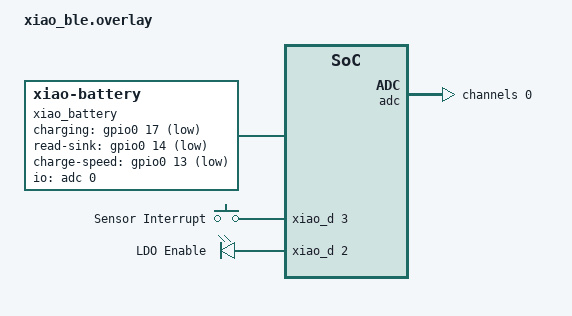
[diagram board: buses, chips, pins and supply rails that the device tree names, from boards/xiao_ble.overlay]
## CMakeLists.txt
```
#
# Copyright (c) 2021 Nordic Semiconductor ASA
#
# SPDX-License-Identifier: LicenseRef-Nordic-5-Clause
#

cmake_minimum_required(VERSION 3.20.0)

find_package(Zephyr HINTS $ENV{ZEPHYR_BASE})

project(sentinel)

# Enable GNU STD support.
include(${ZEPHYR_CONNECTEDHOMEIP_MODULE_DIR}/config/nrfconnect/app/enable-gnu-std.cmake)

# NORDIC SDK APP START

# Include all source files that are located in the Matter common directory.
include(${ZEPHYR_NRF_MODULE_DIR}/samples/matter/common/cmake/source_common.cmake)

# Remove Matter "board" sources added by source_common.cmake, these only build for machines with
# specific dts nodes that seem very hardcoded to the DKs.
get_target_property(_app_sources app SOURCES)
list(REMOVE_ITEM _app_sources
  ${MATTER_COMMONS_SRC_DIR}/board/board.cpp
  ${MATTER_COMMONS_SRC_DIR}/board/led_widget.cpp
)
set_property(TARGET app PROPERTY SOURCES "${_app_sources}")

# Include Data Model utils
include(${ZEPHYR_NRF_MODULE_DIR}/samples/matter/common/cmake/data_model.cmake)

include(${ZEPHYR_NRF_MODULE_DIR}/samples/matter/common/cmake/zap_helpers.cmake)
ncs_get_zap_parent_dir(ZAP_PARENT_DIR)

target_include_directories(app PRIVATE
  src
  drivers
  ${ZAP_PARENT_DIR}
)

target_sources(app PRIVATE
  src/app_task.cpp
  src/main.cpp
  src/battery_monitor.cpp
  drivers/ld2410s.c
)

ncs_configure_data_model()
# NORDIC SDK APP END
```

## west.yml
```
manifest:
  self:
    path: application
  remotes:
    - name: nrf
      url-base: https://github.com/nrfconnect
  projects:
    - name: sdk-nrf
      remote: nrf
      path: nrf
      revision: v3.2.1
      import:
        path-prefix: external
      clone-depth: 1
```

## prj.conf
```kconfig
#
# Copyright (c) 2021 Nordic Semiconductor ASA
#
# SPDX-License-Identifier: LicenseRef-Nordic-5-Clause
#

# Enable CHIP
CONFIG_CHIP=y
CONFIG_CHIP_DEVICE_VENDOR_NAME="LocalizedTech"
CONFIG_CHIP_DEVICE_PRODUCT_NAME="Sentinel"

CONFIG_CHIP_PROJECT_CONFIG="src/chip_project_config.h"

CONFIG_STD_CPP17=y

# Configure ZAP file name
CONFIG_NCS_SAMPLE_MATTER_ZAP_FILE_PATH="${APPLICATION_CONFIG_DIR}/src/default_zap/presence.zap"

# Enable Matter pairing automatically on application start.
CONFIG_CHIP_ENABLE_PAIRING_AUTOSTART=y

# Enable Matter extended announcement and increase duration to 1 hour.
CONFIG_CHIP_BLE_EXT_ADVERTISING=y
CONFIG_CHIP_BLE_ADVERTISING_DURATION=60

# Set Matter polling intervals
CONFIG_CHIP_ENABLE_ICD_SUPPORT=y
CONFIG_CHIP_ICD_SLOW_POLL_INTERVAL=1000

# Enable SED
CONFIG_OPENTHREAD_MTD=y
CONFIG_OPENTHREAD_NORDIC_LIBRARY_MTD=y

# Bluetooth Low Energy configuration
CONFIG_BT_DEVICE_NAME="Sentinel"

# Other settings
CONFIG_THREAD_NAME=y
CONFIG_MPU_STACK_GUARD=y
CONFIG_RESET_ON_FATAL_ERROR=n

# Disable NFC onboarding
CONFIG_CHIP_NFC_ONBOARDING_PAYLOAD=n

# Reduce application size
CONFIG_USE_SEGGER_RTT=n

CONFIG_ADC=y

CONFIG_COMPILER_WARNINGS_AS_ERRORS=y

# Enable power management
CONFIG_PM_DEVICE=y

# Use Thread SSED (Synchronized Sleepy End Device) for CSL-based low power
CONFIG_CHIP_THREAD_SSED=y

# Disable USB device stack - the nRF52840 USB peripheral draws ~1mA+ even with
# no cable connected. This also disables the CDC ACM serial console.
CONFIG_USB_DEVICE_STACK_NEXT=n
CONFIG_BOARD_SERIAL_BACKEND_CDC_ACM=n

# Disable serial console and shell - these keep the CPU and UART clocked,
# wasting power. Remove these lines if you need debug output.
# Note: CONFIG_SERIAL must stay enabled for the sensor UART (uart0).
CONFIG_CONSOLE=n
CONFIG_UART_CONSOLE=n
CONFIG_SHELL=n
CONFIG_OPENTHREAD_SHELL=n
CONFIG_CHIP_LIB_SHELL=n
CONFIG_NCS_SAMPLE_MATTER_TEST_SHELL=n
CONFIG_LOG=n
CONFIG_LOG_MODE_MINIMAL=n
CONFIG_PRINTK=n
CONFIG_BOOT_BANNER=n

# Power down unused RAM blocks to reduce idle current
CONFIG_RAM_POWER_DOWN_LIBRARY=y

# Disable Factory Data feature
CONFIG_CHIP_FACTORY_DATA=n
CONFIG_CHIP_FACTORY_DATA_BUILD=n

# Removes mcuboot which is currently not supported on this board
CONFIG_DFU_TARGET=n
CONFIG_BOOTLOADER_MCUBOOT=n
CONFIG_CHIP_OTA_REQUESTOR=n
CONFIG_CHIP_BOOTLOADER_NONE=y
```

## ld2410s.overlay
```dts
/ {
	sensor_interrupt {
		compatible = "gpio-keys";
		#address-cells = <1>;
		#size-cells = <0>;
		status = "okay";

		interrupt_pin: interrupt_pin {
			label = "Sensor Interrupt";
			gpios = <&xiao_d 3 GPIO_ACTIVE_HIGH>;
		};
	};
};
```

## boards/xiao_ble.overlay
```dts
/*
 * SPDX-License-Identifier: Apache-2.0
 */

/ {
	aliases {
		uart-mmwave = &uart0;
		ldo-enable = &ldo_enable;
	};

	xiao_battery: xiao_battery {
		compatible = "xiao-battery";
		charging-gpios = <&gpio0 17 GPIO_ACTIVE_LOW>;
		read-sink-gpios = <&gpio0 14 GPIO_ACTIVE_LOW>;
		charge-speed-gpios = <&gpio0 13 GPIO_ACTIVE_LOW>;
		io-channels = <&adc 0>;
	};

	sensor_interrupt {
		compatible = "gpio-keys";
		#address-cells = <1>;
		#size-cells = <0>;
		status = "okay";

		interrupt_pin: interrupt_pin {
			label = "Sensor Interrupt";
			gpios = <&xiao_d 3 GPIO_ACTIVE_HIGH>;
		};
	};

	gpio_outputs {
		compatible = "gpio-leds";
		ldo_enable: ldo_enable {
			label = "LDO Enable";
			gpios = <&xiao_d 2 GPIO_ACTIVE_HIGH>;
		};
	};
};

&adc {
	#address-cells = <1>;
	#size-cells = <0>;
	status = "okay";

	channel@0 {
		reg = <0>;
		zephyr,gain = "ADC_GAIN_1_6";
		zephyr,reference = "ADC_REF_INTERNAL";
		zephyr,acquisition-time = <ADC_ACQ_TIME_DEFAULT>;
		zephyr,input-positive = <NRF_SAADC_AIN7>;
		zephyr,resolution = <12>;
	};
};

/* This uses gpio0 17 by default, which is the charging GPIO */
&pwm0 {
	status = "disabled";
};

&i2c1 {
	status = "disabled";
};

&spi2 {
	status = "disabled";
};
```

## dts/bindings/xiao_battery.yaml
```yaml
#
# SPDX-License-Identifier: Apache-2.0
#

description: Binding for Xiao board battery management

compatible: "xiao-battery"

properties:
  charging-gpios:
    type: phandle-array
    required: true
    description: GPIO used to check if the battery is charging

  read-sink-gpios:
    type: phandle-array
    required: true
    description: GPIO used to sink the battery voltage to not fry the ADC read pin, should always be low

  charge-speed-gpios:
    type: phandle-array
    required: true
    description: GPIO used to select the charging speed (high = 100mA, low = 50mA)

  io-channels:
    type: phandle-array
    required: true
    description: IO channel used for ADC reading of the battery voltage.
```

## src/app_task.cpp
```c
/*
 * SPDX-License-Identifier: Apache-2.0
 */

#include "app_task.h"
#include "battery_monitor.h"
#include "ld2410s.h"

#include "app/matter_init.h"
#include "app/task_executor.h"
#include "lib/core/CHIPError.h"
#include "lib/support/CodeUtils.h"

#include <setup_payload/OnboardingCodesUtil.h>
#include <app-common/zap-generated/attributes/Accessors.h>

#include <zephyr/logging/log.h>
#include <zephyr/drivers/gpio.h>

LOG_MODULE_DECLARE(app, CONFIG_CHIP_APP_LOG_LEVEL);

K_THREAD_STACK_DEFINE(sensorPollingStack, 1024);

/* GPIO device for LDO enable */
static const struct gpio_dt_spec ldo_enable = GPIO_DT_SPEC_GET(DT_ALIAS(ldo_enable), gpios);

using namespace ::chip;
using namespace ::chip::app;
using namespace ::chip::DeviceLayer;
using namespace ::Clusters;

/* Matter endpoints */
constexpr EndpointId endpointOccupancy = 1;
constexpr EndpointId endpointDistance = 2;
constexpr EndpointId endpointAutoThreshold = 3;
constexpr EndpointId endpointTriggerOffset = 4;
constexpr EndpointId endpointHoldingOffset = 5;

bool autoThresholdRunning = false;

static void AutoThresholdCompleteCallback()
{
	Nrf::PostTask([]() {
		autoThresholdRunning = false;
		OnOff::Attributes::OnOff::Set(endpointAutoThreshold, false);
		LOG_INF("Auto threshold complete, set OnOff to OFF");
	});
}

chip::Protocols::InteractionModel::Status
emberAfExternalAttributeReadCallback(chip::EndpointId endpoint, chip::ClusterId clusterId,
				     const EmberAfAttributeMetadata *attributeMetadata,
				     uint8_t *buffer, uint16_t maxReadLength)
{
	switch (endpoint) {
	case endpointOccupancy:
		if (clusterId == OccupancySensing::Id &&
		    attributeMetadata->attributeId == OccupancySensing::Attributes::HoldTime::Id) {
			if (AppTask::Instance().hold_time == 0) {
				return chip::Protocols::InteractionModel::Status::Busy;
			}

			buffer[0] = AppTask::Instance().hold_time;
			return chip::Protocols::InteractionModel::Status::Success;
		}
		break;
	}

	return chip::Protocols::InteractionModel::Status::UnsupportedAttribute;
}

chip::Protocols::InteractionModel::Status
emberAfExternalAttributeWriteCallback(chip::EndpointId endpoint, chip::ClusterId clusterId,
				      const EmberAfAttributeMetadata *attributeMetadata,
				      uint8_t *buffer)
{
	/* Ignore all Matter attribute changes if auto threshold is running */
	if (autoThresholdRunning) {
		LOG_INF("Auto threshold is running, ignore attribute write");
		return chip::Protocols::InteractionModel::Status::Busy;
	}

	switch (endpoint) {
	case endpointOccupancy:
		if (clusterId == OccupancySensing::Id &&
		    attributeMetadata->attributeId == OccupancySensing::Attributes::HoldTime::Id) {
			uint8_t delay = buffer[0];

			AppTask::Instance().hold_time = delay;
			Nrf::PostTask([delay]() { ld2410s_set_disappearance_delay(delay); });

			LOG_INF("HoldTime written: %u", delay);
			return chip::Protocols::InteractionModel::Status::Success;
		}
		break;
	}

	return chip::Protocols::InteractionModel::Status::UnsupportedAttribute;
}

chip::Protocols::InteractionModel::Status
MatterPreAttributeChangeCallback(const chip::app::ConcreteAttributePath &attributePath,
				 uint8_t type, uint16_t size, uint8_t *value)
{
	/* Ignore all Matter attribute changes if auto threshold is running */
	if (autoThresholdRunning) {
		LOG_INF("Auto threshold is running, ignore attribute change");
		return chip::Protocols::InteractionModel::Status::Busy;
	}

	switch (attributePath.mEndpointId) {
	case endpointTriggerOffset:
	case endpointHoldingOffset:
		if (attributePath.mClusterId == LevelControl::Id &&
		    attributePath.mAttributeId == LevelControl::Attributes::OnLevel::Id) {
			chip::app::DataModel::Nullable<uint8_t> oldValue;
			int32_t delta = 0;
			int32_t triggerDelta = 0;
			int32_t holdingDelta = 0;

			LevelControl::Attributes::OnLevel::Get(attributePath.mEndpointId, oldValue);

			if (oldValue.IsNull()) {
				delta = *value;
			} else {
				delta = *value - oldValue.Value();
			}

			if (attributePath.mEndpointId == endpointTriggerOffset) {
				triggerDelta = delta;
			} else if (attributePath.mEndpointId == endpointHoldingOffset) {
				holdingDelta = delta;
			}

			/* UART operation could take time, so we post it to the task queue */
			Nrf::PostTask([triggerDelta, holdingDelta]() {
				uint32_t thresholds[16];

				bool success = ld2410s_get_thresholds(thresholds);
				if (!success) {
					LOG_ERR("Failed to get thresholds");
					return;
				}

				for (int i = 0; i < 8; i++) {
					int32_t new_threshold = thresholds[i] + triggerDelta;

					/* TODO: Need to check what the highest threshold value
					 * actually is. Doing it like this also makes us lose the
					 * original value if it gets clamped and then we decrease it
					 * the same amount */
					new_threshold =
						std::clamp(new_threshold, int32_t{0}, int32_t{100});

					LOG_INF("Trigger %d: %u -> %u", i, thresholds[i],
						new_threshold);
					thresholds[i] = new_threshold;
				}

				for (int i = 8; i < 16; i++) {
					int32_t new_threshold = thresholds[i] + holdingDelta;

					new_threshold =
						std::clamp(new_threshold, int32_t{0}, int32_t{100});

					LOG_INF("Holding %d: %u -> %u", i, thresholds[i],
						new_threshold);
					thresholds[i] = new_threshold;
				}

				success = ld2410s_set_thresholds(thresholds);
				if (!success) {
					LOG_ERR("Failed to set thresholds");
				}
			});
		}
		break;
	}

	return chip::Protocols::InteractionModel::Status::Success;
}

void MatterPostAttributeChangeCallback(const chip::app::ConcreteAttributePath &attributePath,
				       uint8_t type, uint16_t size, uint8_t *value)
{
	switch (attributePath.mEndpointId) {
	case endpointDistance:
		if (attributePath.mClusterId == LevelControl::Id &&
		    attributePath.mAttributeId == LevelControl::Attributes::OnLevel::Id) {
			uint8_t level = *value;

			Nrf::PostTask([level]() { ld2410s_set_detection_distance(level); });
			LOG_INF("Distance changed: %u", level);
		}
		break;
	case endpointAutoThreshold:
		if (attributePath.mClusterId == OnOff::Id &&
		    attributePath.mAttributeId == OnOff::Attributes::OnOff::Id) {
			bool on = *value;

			LOG_INF("AutoThreshold changed: %s", on ? "On" : "Off");

			if (!on) {
				return;
			}

			/* Reset offsets to 100, can be done immediately since we're in Matter
			 * context */
			LevelControl::Attributes::OnLevel::Set(endpointTriggerOffset, 100);
			LevelControl::Attributes::OnLevel::Set(endpointHoldingOffset, 100);

			/* Schedule automatic threshold, UART can block so put it in a task */
			Nrf::PostTask([]() {
				autoThresholdRunning = true;
				ld2410s_set_automatic_threshold(AutoThresholdCompleteCallback);
			});
		}
	}
}

void AppTask::UpdateOccupancy(bool occupied)
{
	Nrf::PostTask([occupied]() {
		BitMask<OccupancySensing::OccupancyBitmap> occupancyBitmap;
		Protocols::InteractionModel::Status status;

		occupancyBitmap.Set(OccupancySensing::OccupancyBitmap::kOccupied, occupied);
		status = OccupancySensing::Attributes::Occupancy::Set(endpointOccupancy,
								      occupancyBitmap);

		if (status != Protocols::InteractionModel::Status::Success) {
			LOG_ERR("Setting occupancy cluster failed: %x", to_underlying(status));
			return;
		}

		LOG_INF("Occupancy state updated to: %s", occupied ? "Occupied" : "Unoccupied");
	});
}

void AppTask::InitMatterAttributes()
{
	BitMask<OccupancySensing::OccupancySensorTypeBitmap> occupancySensorTypeBitmap;

	occupancySensorTypeBitmap.Set(OccupancySensing::OccupancySensorTypeBitmap::kPir);
	OccupancySensing::Attributes::OccupancySensorTypeBitmap::Set(endpointOccupancy,
								     occupancySensorTypeBitmap);
	OccupancySensing::Attributes::OccupancySensorType::Set(
		endpointOccupancy, OccupancySensing::OccupancySensorTypeEnum::kPir);

	DeviceLayer::AttributeList<UserLabel::Structs::LabelStruct::Type,
				   DeviceLayer::kMaxUserLabelListLength>
		detectionDistanceList;
	detectionDistanceList.add(UserLabel::Structs::LabelStruct::Type{
		CharSpan::fromCharString("Label"), CharSpan::fromCharString("Detection Distance")});

	DeviceLayer::AttributeList<UserLabel::Structs::LabelStruct::Type,
				   DeviceLayer::kMaxUserLabelListLength>
		autoThresholdList;
	autoThresholdList.add(UserLabel::Structs::LabelStruct::Type{
		CharSpan::fromCharString("Label"), CharSpan::fromCharString("Auto Threshold")});

	DeviceLayer::AttributeList<UserLabel::Structs::LabelStruct::Type,
				   DeviceLayer::kMaxUserLabelListLength>
		triggerOffsetList;
	triggerOffsetList.add(UserLabel::Structs::LabelStruct::Type{
		CharSpan::fromCharString("Label"), CharSpan::fromCharString("Trigger Offset")});

	DeviceLayer::AttributeList<UserLabel::Structs::LabelStruct::Type,
				   DeviceLayer::kMaxUserLabelListLength>
		holdingOffsetList;
	holdingOffsetList.add(UserLabel::Structs::LabelStruct::Type{
		CharSpan::fromCharString("Label"), CharSpan::fromCharString("Holding Offset")});

	DeviceLayer::GetDeviceInfoProvider()->SetUserLabelList(endpointDistance,
							       detectionDistanceList);
	DeviceLayer::GetDeviceInfoProvider()->SetUserLabelList(endpointAutoThreshold,
							       autoThresholdList);
	DeviceLayer::GetDeviceInfoProvider()->SetUserLabelList(endpointTriggerOffset,
							       triggerOffsetList);
	DeviceLayer::GetDeviceInfoProvider()->SetUserLabelList(endpointHoldingOffset,
							       holdingOffsetList);
}

void AppTask::PollingThread()
{
	uint16_t distance = 0;
	uint8_t detection = 0;

	LOG_INF("Sensor polling thread started");

	while (true) {
		struct data_frame frame;

		ld2410s_get_frame(&frame);
		if (frame.detection != detection) {
			detection = frame.detection;
			UpdateOccupancy((detection & DetectionOccupiedMask) != 0);
		}

		distance = frame.distance;
		LOG_DBG("Distance: %u", distance);
	}
}

void AppTask::ConfigUpdateCallback(const struct ld2410s_config *config)
{
	uint8_t disappearance_delay = config->disappearance_delay;
	uint8_t detection_distance = config->detection_distance;

	Nrf::PostTask([disappearance_delay, detection_distance]() {
		AppTask::Instance().hold_time = disappearance_delay;
		LevelControl::Attributes::OnLevel::Set(endpointDistance, detection_distance);

		LOG_INF("Matter attributes updated: disappearance_delay=%u, detection_distance=%u",
			disappearance_delay, detection_distance);
	});
}

CHIP_ERROR AppTask::InitMatter()
{
	static DeviceLayer::DeviceInfoProviderImpl defaultProvider;
	uint64_t serial =
		(static_cast<uint64_t>(NRF_FICR->DEVICEID[0]) << 32) | NRF_FICR->DEVICEID[1];

	/* Write serial number into config, this used in the Basic Information cluster */
	DeviceLayer::Internal::ZephyrConfig::WriteConfigValueStr(
		DeviceLayer::Internal::ZephyrConfig::kConfigKey_SerialNum,
		std::to_string(serial).c_str());

	/* Set DeviceInfoProvider, this is needed for setting UserLabel attributes */
	Nrf::Matter::InitData initData = {};
	initData.mDeviceInfoProvider = &defaultProvider;

	ReturnErrorOnFailure(Nrf::Matter::PrepareServer(initData));
	return Nrf::Matter::StartServer();
}

int AppTask::PowerOnSensor()
{
	/* Enable LDO for sensor power */
	if (!gpio_is_ready_dt(&ldo_enable)) {
		LOG_ERR("LDO enable GPIO device not ready");
		return -1;
	}

	int ret = gpio_pin_configure_dt(&ldo_enable, GPIO_OUTPUT_ACTIVE);
	if (ret < 0) {
		LOG_ERR("Failed to configure LDO enable GPIO: %d", ret);
		return -1;
	}

	/* Turn off sensor first, to make sure configuration is cleared */
	ret = gpio_pin_set_dt(&ldo_enable, 0);
	if (ret < 0) {
		LOG_ERR("Failed to set LDO enable GPIO low: %d", ret);
		return -1;
	}

	/* Give LDO time to power off */
	k_msleep(1000);

	ret = gpio_pin_set_dt(&ldo_enable, 1);
	if (ret < 0) {
		LOG_ERR("Failed to set LDO enable GPIO high: %d", ret);
		return -1;
	}

	/* Wait for sensor to start up */
	k_msleep(SensorStartupDelayMs);

	return 0;
}

CHIP_ERROR AppTask::StartApp()
{
	ReturnErrorOnFailure(InitMatter());

	BatteryMonitor::Instance().Init([](int mvNew) {
		Nrf::PostTask([mvNew]() { PowerSource::Attributes::BatVoltage::Set(0, mvNew); });
	});

	InitMatterAttributes();

	PowerOnSensor();

	if (!device_is_ready(uart)) {
		LOG_ERR("UART device not ready");
		return CHIP_ERROR_INCORRECT_STATE;
	}

	ld2410s_register_config_update_cb(ConfigUpdateCallback);
	ld2410s_init(uart);

	k_thread_create(
		&sensorPollingThread, sensorPollingStack, K_THREAD_STACK_SIZEOF(sensorPollingStack),
		[](void *arg1, void *arg2, void *arg3) {
			static_cast<AppTask *>(arg1)->PollingThread();
		},
		this, nullptr, nullptr, K_PRIO_COOP(1), 0, K_NO_WAIT);

	while (true) {
		Nrf::DispatchNextTask();
	}

	return CHIP_NO_ERROR;
}
```

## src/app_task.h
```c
/*
 * SPDX-License-Identifier: Apache-2.0
 */

#pragma once

#include <platform/CHIPDeviceLayer.h>

class AppTask
{
public:
	static AppTask &Instance()
	{
		static AppTask sAppTask;
		return sAppTask;
	};

	CHIP_ERROR StartApp();

	uint8_t hold_time = 0;

private:
	static constexpr int SensorStartupDelayMs = 4000;
	static constexpr uint8_t DetectionOccupiedMask = 0x2;

	struct k_thread sensorPollingThread;
	const struct device *uart = DEVICE_DT_GET(DT_ALIAS(uart_mmwave));

	CHIP_ERROR InitMatter();
	void UpdateOccupancy(bool occupied);
	void InitMatterAttributes();
	static void ConfigUpdateCallback(const struct ld2410s_config *config);
	int PowerOnSensor();

	void PollingThread();
};
```

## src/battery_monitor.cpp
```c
/*
 * SPDX-License-Identifier: Apache-2.0
 */

#include "battery_monitor.h"

#include <zephyr/kernel.h>
#include <zephyr/drivers/gpio.h>
#include <zephyr/logging/log.h>
#include <zephyr/pm/device.h>

LOG_MODULE_REGISTER(battery_monitor, LOG_LEVEL_INF);

K_THREAD_STACK_DEFINE(batteryMonitorStack, 1024);

#if !DT_NODE_EXISTS(DT_NODELABEL(xiao_battery))
#error "Overlay for xiao_battery node not properly defined."
#endif

#define BATTERY_NODE DT_NODELABEL(xiao_battery)

int BatteryMonitor::Init(VoltageChangedCallback cb)
{
	int err;

	voltageCb = cb;

	gpioCharging = GPIO_DT_SPEC_GET(BATTERY_NODE, charging_gpios);
	gpioReadSink = GPIO_DT_SPEC_GET(BATTERY_NODE, read_sink_gpios);
	gpioChargeSpeed = GPIO_DT_SPEC_GET(BATTERY_NODE, charge_speed_gpios);

	if (!gpio_is_ready_dt(&gpioReadSink)) {
		LOG_ERR("read_sink GPIO device not ready");
		return -1;
	}

	if (!gpio_is_ready_dt(&gpioChargeSpeed)) {
		LOG_ERR("charge_speed GPIO not ready");
		return -1;
	}

	if (!gpio_is_ready_dt(&gpioCharging)) {
		LOG_ERR("charging GPIO not ready");
		return -1;
	}

	err = gpio_pin_configure_dt(&gpioReadSink, GPIO_OUTPUT_ACTIVE);
	if (err < 0) {
		LOG_ERR("Failed to configure read_sink GPIO: %d", err);
		return -1;
	}

	err = gpio_pin_configure_dt(&gpioChargeSpeed, GPIO_OUTPUT_ACTIVE);
	if (err < 0) {
		LOG_ERR("Failed to configure charge_speed GPIO: %d", err);
		return -1;
	}

	err = gpio_pin_configure_dt(&gpioCharging, GPIO_INPUT);
	if (err < 0) {
		LOG_ERR("Failed to configure charging GPIO: %d", err);
		return -1;
	}

	bat_adc = ADC_DT_SPEC_GET(BATTERY_NODE);

	if (!adc_is_ready_dt(&bat_adc)) {
		LOG_ERR("ADC controller device %s not ready", bat_adc.dev->name);
		return -1;
	}

	err = adc_channel_setup_dt(&bat_adc);
	if (err < 0) {
		LOG_ERR("Could not setup channel #%d (%d)", 0, err);
		return -1;
	}

	err = adc_sequence_init_dt(&bat_adc, &sequence);
	if (err < 0) {
		LOG_ERR("Could not initalize sequnce");
		return -1;
	}

	k_thread_create(
		&batteryMonitorThread, batteryMonitorStack,
		K_THREAD_STACK_SIZEOF(batteryMonitorStack),
		[](void *arg1, void *arg2, void *arg3) {
			static_cast<BatteryMonitor *>(arg1)->MonitorThread();
		},
		this, nullptr, nullptr, K_PRIO_COOP(1), 0, K_NO_WAIT);

	return 0;
}

/*
 * Reads the battery voltage using the ADC and calls the voltage callback
 */
void BatteryMonitor::MonitorThread()
{
	int32_t bat_mv;
	int err;

	while (true) {
		int32_t adc_sum = 0;

		/* Resume ADC */
		err = pm_device_action_run(bat_adc.dev, PM_DEVICE_ACTION_RESUME);
		if (err < 0 && err != -EALREADY) {
			LOG_ERR("Failed to resume ADC: %d", err);
			k_msleep(MonitorIntervalSec * 1000);
			continue;
		}

		/* Wait for ADC to stabilize */
		k_msleep(10);

		for (int i = 0; i < NumVoltageSamples; i++) {
			err = adc_read(bat_adc.dev, &sequence);

			if (err < 0) {
				LOG_ERR("Error when reading ADC: %d", err);
				continue;
			}

			adc_sum += adcVal;

			k_msleep(2);
		}

		/* Suspend ADC */
		err = pm_device_action_run(bat_adc.dev, PM_DEVICE_ACTION_SUSPEND);
		if (err < 0 && err != -EALREADY) {
			LOG_ERR("Failed to suspend ADC: %d", err);
			k_msleep(MonitorIntervalSec * 1000);
			continue;
		}

		bat_mv = adc_sum / NumVoltageSamples;
		err = adc_raw_to_millivolts_dt(&bat_adc, &bat_mv);

		if (err < 0) {
			LOG_WRN("ADC raw to millivolts conversion failed: %d", err);
			bat_mv = 0;
		}

		/* Convert to voltage at battery side */
		bat_mv *= BatteryVoltageDivider;
		LOG_INF("Battery voltage: %d mV", bat_mv);

		if (voltageCb) {
			voltageCb(bat_mv);
		}

		k_msleep(MonitorIntervalSec * 1000);
	}
}
```

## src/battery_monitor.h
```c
/*
 * SPDX-License-Identifier: Apache-2.0
 */

#pragma once

#include <functional>

#include <zephyr/drivers/adc.h>
#include <zephyr/drivers/gpio.h>

class BatteryMonitor
{
public:
	using VoltageChangedCallback = std::function<void(int mvNew)>;

	static BatteryMonitor &Instance()
	{
		static BatteryMonitor batteryMonitor;
		return batteryMonitor;
	};

	int Init(VoltageChangedCallback cb);

private:
	static constexpr uint32_t MonitorIntervalSec = 600;
	static constexpr uint8_t NumVoltageSamples = 10;
	static constexpr uint32_t BatteryVoltageDivider = (1000 + 500) / 500;

	/* ADC for monitoring*/
	int16_t adcVal;
	struct adc_sequence sequence = {
		.buffer = &adcVal,
		.buffer_size = sizeof(adcVal),
	};
	struct adc_dt_spec bat_adc;

	/* GPIOs for charging */
	struct gpio_dt_spec gpioCharging;
	struct gpio_dt_spec gpioReadSink;
	struct gpio_dt_spec gpioChargeSpeed;

	VoltageChangedCallback voltageCb;

	struct k_thread batteryMonitorThread;

	void MonitorThread();
};
```
